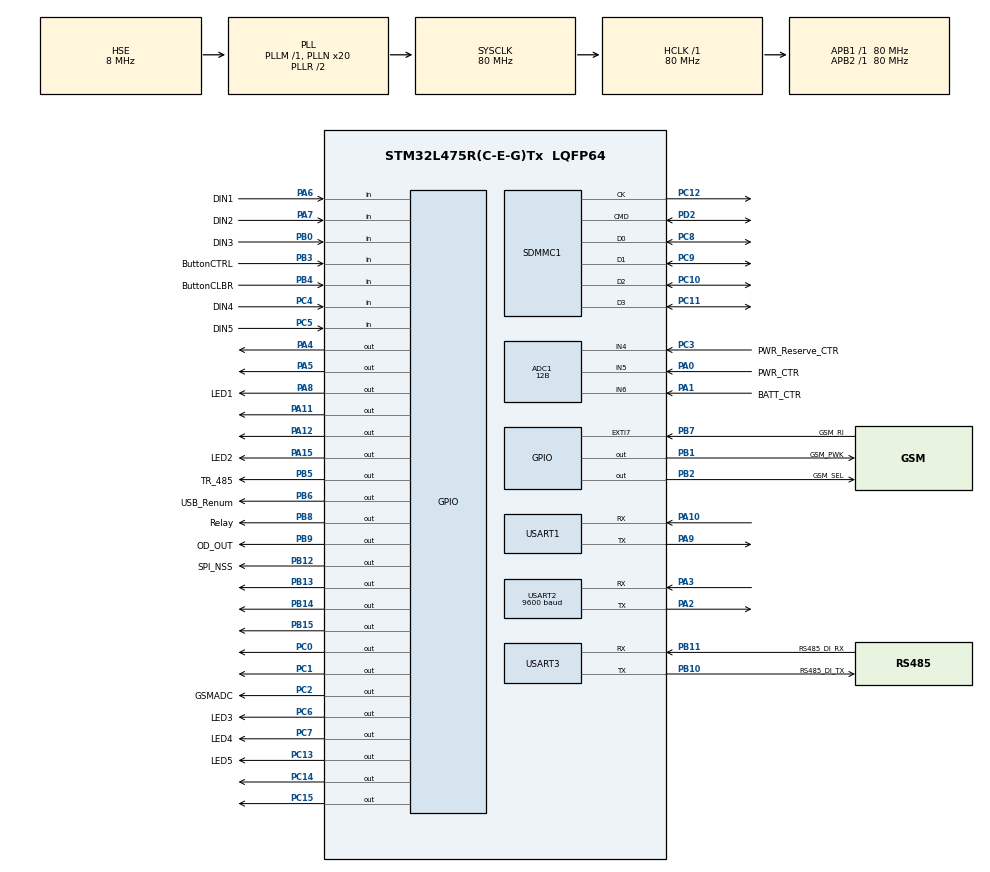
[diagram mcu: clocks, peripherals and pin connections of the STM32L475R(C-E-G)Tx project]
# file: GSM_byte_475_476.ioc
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ADC1.ClockPrescaler=ADC_CLOCK_ASYNC_DIV32
ADC1.ContinuousConvMode=DISABLE
ADC1.DMAContinuousRequests=DISABLE
ADC1.DataAlign=ADC_DATAALIGN_RIGHT
ADC1.DiscontinuousConvMode=DISABLE
ADC1.EOCSelection=ADC_EOC_SEQ_CONV
ADC1.EnableInjectedConversion=ENABLE
ADC1.EnableRegularConversion=DISABLE
ADC1.InjNumberOfConversion=3
ADC1.InjectedChannel-32\#ChannelInjectedConversion=ADC_CHANNEL_4
ADC1.InjectedChannel-33\#ChannelInjectedConversion=ADC_CHANNEL_5
ADC1.InjectedChannel-34\#ChannelInjectedConversion=ADC_CHANNEL_6
ADC1.InjectedOffsetNumber-32\#ChannelInjectedConversion=ADC_OFFSET_NONE
ADC1.InjectedOffsetNumber-33\#ChannelInjectedConversion=ADC_OFFSET_NONE
ADC1.InjectedOffsetNumber-34\#ChannelInjectedConversion=ADC_OFFSET_NONE
ADC1.InjectedRank-32\#ChannelInjectedConversion=1
ADC1.InjectedRank-33\#ChannelInjectedConversion=2
ADC1.InjectedRank-34\#ChannelInjectedConversion=3
ADC1.InjectedSamplingTime-32\#ChannelInjectedConversion=ADC_SAMPLETIME_2CYCLES_5
ADC1.InjectedSamplingTime-33\#ChannelInjectedConversion=ADC_SAMPLETIME_2CYCLES_5
ADC1.InjectedSamplingTime-34\#ChannelInjectedConversion=ADC_SAMPLETIME_2CYCLES_5
ADC1.LowPowerAutoWait=DISABLE
ADC1.Overrun=ADC_OVR_DATA_PRESERVED
ADC1.OversamplingMode=DISABLE
ADC1.Resolution=ADC_RESOLUTION_12B
ADC1.ScanConvMode=ADC_SCAN_ENABLE
ADC1.master=1
FATFS._MAX_SS=4096
Mcu.Family=STM32L4
Mcu.Name=STM32L475R(C-E-G)Tx
Mcu.Package=LQFP64
NVIC.ADC1_2_IRQn=true\:0\:0\:false\:true\:true\:1\:true\:true
NVIC.PriorityGroup=NVIC_PRIORITYGROUP_4
NVIC.SDMMC1_IRQn=true\:0\:0\:false\:false\:true\:true\:true
NVIC.TIM1_UP_TIM16_IRQn=true\:0\:0\:false\:true\:true\:5\:true\:true
NVIC.TIM6_DAC_IRQn=true\:0\:0\:false\:true\:true\:4\:true\:true
NVIC.USART2_IRQn=true\:0\:0\:false\:true\:true\:2\:true\:true
NVIC.USART3_IRQn=true\:0\:0\:false\:true\:true\:3\:true\:true
PA0.GPIO_Label=PWR_CTR
PA0.Signal=ADCx_IN5
PA1.GPIO_Label=BATT_CTR
PA1.Signal=ADCx_IN6
PA10.Mode=Asynchronous
PA10.Signal=USART1_RX
PA11.Signal=GPIO_Output
PA12.Signal=GPIO_Output
PA13\ (JTMS-SWDIO).Mode=Serial_Wire
PA13\ (JTMS-SWDIO).Signal=SYS_JTMS-SWDIO
PA14\ (JTCK-SWCLK).Mode=Serial_Wire
PA14\ (JTCK-SWCLK).Signal=SYS_JTCK-SWCLK
PA15\ (JTDI).GPIO_Label=LED2
PA15\ (JTDI).Signal=GPIO_Output
PA2.Mode=Asynchronous
PA2.Signal=USART2_TX
PA3.Mode=Asynchronous
PA3.Signal=USART2_RX
PA4.Signal=GPIO_Output
PA5.Signal=GPIO_Output
PA6.GPIO_Label=DIN1
PA6.Signal=GPIO_Input
PA7.GPIO_Label=DIN2
PA7.Signal=GPIO_Input
PA8.GPIO_Label=LED1
PA8.Signal=GPIO_Output
PA9.Mode=Asynchronous
PA9.Signal=USART1_TX
PB0.GPIO_Label=DIN3
PB0.Signal=GPIO_Input
PB1.GPIO_Label=GSM_PWK
PB1.Signal=GPIO_Output
PB10.GPIO_Label=RS485_DI_TX
PB10.Mode=Asynchronous
PB10.Signal=USART3_TX
PB11.GPIO_Label=RS485_DI_RX
PB11.Mode=Asynchronous
PB11.Signal=USART3_RX
PB12.GPIO_Label=SPI_NSS
PB12.PinState=GPIO_PIN_SET
PB12.Signal=GPIO_Output
PB13.Signal=GPIO_Output
PB14.Signal=GPIO_Output
PB15.Signal=GPIO_Output
PB2.GPIO_Label=GSM_SEL
PB2.Signal=GPIO_Output
PB3\ (JTDO-TRACESWO).GPIO_Label=ButtonCTRL
PB3\ (JTDO-TRACESWO).Signal=GPIO_Input
PB4\ (NJTRST).GPIO_Label=ButtonCLBR
PB4\ (NJTRST).Signal=GPIO_Input
PB5.GPIO_Label=TR_485
PB5.Signal=GPIO_Output
PB6.GPIO_FM6=__NULL
PB6.GPIO_Label=USB_Renum
PB6.Signal=GPIO_Output
PB7.GPIO_Label=GSM_RI
PB7.Signal=GPXTI7
PB8.GPIO_Label=Relay
PB8.Signal=GPIO_Output
PB9.GPIO_Label=OD_OUT
PB9.Signal=GPIO_Output
PC0.Signal=GPIO_Output
PC1.Signal=GPIO_Output
PC10.GPIO_PuPd=GPIO_PULLUP
PC10.Mode=SD_4_bits_Wide_bus
PC10.Signal=SDMMC1_D2
PC11.GPIO_PuPd=GPIO_PULLUP
PC11.Mode=SD_4_bits_Wide_bus
PC11.Signal=SDMMC1_D3
PC12.Mode=SD_4_bits_Wide_bus
PC12.Signal=SDMMC1_CK
PC13.GPIO_Label=LED5
PC13.Signal=GPIO_Output
PC14-OSC32_IN\ (PC14).Signal=GPIO_Output
PC15-OSC32_OUT\ (PC15).Signal=GPIO_Output
PC2.GPIO_Label=GSMADC
PC2.GPIO_ModeDefaultOutputPP=GPIO_MODE_OUTPUT_OD
PC2.Signal=GPIO_Output
PC3.GPIO_Label=PWR_Reserve_CTR
PC3.Signal=ADCx_IN4
PC4.GPIO_Label=DIN4
PC4.Signal=GPIO_Input
PC5.GPIO_Label=DIN5
PC5.GPIO_PuPd=GPIO_PULLUP
PC5.Signal=GPIO_Input
PC6.GPIO_Label=LED3
PC6.Signal=GPIO_Output
PC7.GPIO_Label=LED4
PC7.Signal=GPIO_Output
PC8.GPIO_PuPd=GPIO_PULLUP
PC8.Mode=SD_4_bits_Wide_bus
PC8.Signal=SDMMC1_D0
PC9.GPIO_PuPd=GPIO_PULLUP
PC9.Mode=SD_4_bits_Wide_bus
PC9.Signal=SDMMC1_D1
PD2.GPIO_PuPd=GPIO_PULLUP
PD2.Mode=SD_4_bits_Wide_bus
PD2.Signal=SDMMC1_CMD
PH0-OSC_IN\ (PH0).Mode=HSE-External-Oscillator
PH0-OSC_IN\ (PH0).Signal=RCC_OSC_IN
PH1-OSC_OUT\ (PH1).Mode=HSE-External-Oscillator
PH1-OSC_OUT\ (PH1).Signal=RCC_OSC_OUT
ProjectManager.HeapSize=0x200
ProjectManager.StackSize=0x400
ProjectManager.TargetToolchain=TrueSTUDIO
RCC.ADCCLockSelection=RCC_ADCCLKSOURCE_SYSCLK
RCC.ADCFreq_Value=80000000
RCC.AHBFreq_Value=80000000
RCC.APB1Freq_Value=80000000
RCC.APB1TimFreq_Value=80000000
RCC.APB2Freq_Value=80000000
RCC.APB2TimFreq_Value=80000000
RCC.CortexFreq_Value=10000000
RCC.Cortex_Div=SYSTICK_CLKSOURCE_HCLK_DIV8
RCC.FLatency=FLASH_LATENCY_2
RCC.HCLKFreq_Value=80000000
RCC.HSE_VALUE=8000000
RCC.HSI_VALUE=16000000
RCC.LSE_VALUE=32768
RCC.MSIClockRange=RCC_MSIRANGE_11
RCC.MSI_VALUE=48000000
RCC.PLLN=20
RCC.PLLSourceVirtual=RCC_PLLSOURCE_HSE
RCC.SYSCLKFreq_VALUE=80000000
RCC.SYSCLKSource=RCC_SYSCLKSOURCE_PLLCLK
RCC.USBFreq_Value=32000000
RCC.VCOOutputFreq_Value=160000000
SH.ADCx_IN4.0=ADC1_IN4,IN4-Single-Ended
SH.ADCx_IN5.0=ADC1_IN5,IN5-Single-Ended
SH.ADCx_IN6.0=ADC1_IN6,IN6-Single-Ended
TIM16.Period=18000
TIM16.Prescaler=1
TIM6.Period=42000
TIM6.Prescaler=1
USART1.DMADisableonRxErrorParam=ADVFEATURE_DMA_DISABLEONRXERROR
USART1.OverrunDisableParam=ADVFEATURE_OVERRUN_DISABLE
USART1.VirtualMode-Asynchronous=VM_ASYNC
USART1.WordLength=WORDLENGTH_8B
USART2.BaudRate=9600
USART2.DMADisableonRxErrorParam=ADVFEATURE_DMA_DISABLEONRXERROR
USART2.OverSampling=UART_OVERSAMPLING_8
USART2.OverrunDisableParam=ADVFEATURE_OVERRUN_DISABLE
USART2.VirtualMode-Asynchronous=VM_ASYNC
USART2.WordLength=WORDLENGTH_8B
USART3.DMADisableonRxErrorParam=ADVFEATURE_DMA_DISABLEONRXERROR
USART3.OverrunDisableParam=ADVFEATURE_OVERRUN_DISABLE
USART3.Parity=PARITY_EVEN
USART3.VirtualMode-Asynchronous=VM_ASYNC
USART3.WordLength=WORDLENGTH_9B
VP_CRC_VS_CRC.Mode=CRC_Activate
VP_FATFS_VS_SDIO.Mode=SDIO
VP_LPTIM1_VS_LPTIM_counterModeInternalClock.Mode=Counts__internal_clock_event_00
VP_LPTIM2_VS_LPTIM_counterModeInternalClock.Mode=Counts__internal_clock_event_00
VP_TIM15_VS_ClockSourceINT.Mode=Internal
VP_TIM16_VS_ClockSourceINT.Mode=Enable_Timer
VP_TIM16_VS_OPM.Mode=OPM_bit
VP_TIM17_VS_ClockSourceINT.Mode=Enable_Timer
VP_TIM1_VS_ClockSourceINT.Mode=Internal
VP_TIM2_VS_ClockSourceINT.Mode=Internal
VP_TIM3_VS_ClockSourceINT.Mode=Internal
VP_TIM4_VS_ClockSourceINT.Mode=Internal
VP_TIM5_VS_ClockSourceINT.Mode=Internal
VP_TIM6_VS_ClockSourceINT.Mode=Enable_Timer
VP_TIM6_VS_OPM.Mode=OPM_bit
VP_TIM7_VS_ClockSourceINT.Mode=Enable_Timer
VP_TIM8_VS_ClockSourceINT.Mode=Internal
VP_WWDG_VS_WWDG.Mode=WWDG_Activate
WWDG.Prescaler=WWDG_PRESCALER_8
board=GSM_byte_475_476

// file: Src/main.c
/* USER CODE BEGIN Header */
/**
  ******************************************************************************
  * @file           : main.c
  * @brief          : Main program body
  ******************************************************************************
  * @attention
  *
  * <h2><center>&copy; Copyright (c) 2019 STMicroelectronics.
  * All rights reserved.</center></h2>
  *
  * This software component is licensed by ST under BSD 3-Clause license,
  * the "License"; You may not use this file except in compliance with the
  * License. You may obtain a copy of the License at:
  *                        opensource.org/licenses/BSD-3-Clause
  *
  ******************************************************************************
  */
/* USER CODE END Header */

#include "main.h"
#include "fatfs.h"

/* USER CODE BEGIN PTD */
FATFS SDFatFs;  /* File system object for SD card logical drive */

FIL MyFile;     /* File object */

char SD_Path[4];  /* SD logical drive path */

/* USER CODE END PTD */

ADC_HandleTypeDef hadc1;

CRC_HandleTypeDef hcrc;

LPTIM_HandleTypeDef hlptim1;
LPTIM_HandleTypeDef hlptim2;

SD_HandleTypeDef hsd1;

TIM_HandleTypeDef htim1;
TIM_HandleTypeDef htim2;
TIM_HandleTypeDef htim3;
TIM_HandleTypeDef htim4;
TIM_HandleTypeDef htim5;
TIM_HandleTypeDef htim6;
TIM_HandleTypeDef htim7;
TIM_HandleTypeDef htim8;
TIM_HandleTypeDef htim15;
TIM_HandleTypeDef htim16;
TIM_HandleTypeDef htim17;

UART_HandleTypeDef huart1;
UART_HandleTypeDef huart2;
UART_HandleTypeDef huart3;

WWDG_HandleTypeDef hwwdg;

void SystemClock_Config(void);
static void MX_GPIO_Init(void);
static void MX_ADC1_Init(void);
static void MX_USART1_UART_Init(void);
static void MX_USART2_UART_Init(void);
static void MX_TIM6_Init(void);
static void MX_TIM7_Init(void);
static void MX_TIM3_Init(void);
static void MX_TIM2_Init(void);
static void MX_TIM1_Init(void);
static void MX_TIM4_Init(void);
static void MX_TIM5_Init(void);
static void MX_TIM8_Init(void);
static void MX_TIM15_Init(void);
static void MX_TIM16_Init(void);
static void MX_TIM17_Init(void);
static void MX_LPTIM1_Init(void);
static void MX_LPTIM2_Init(void);
static void MX_CRC_Init(void);
static void MX_WWDG_Init(void);
static void MX_USART3_UART_Init(void);
static void MX_SDMMC1_SD_Init(void);
static void MX_NVIC_Init(void);

/* USER CODE BEGIN 0 */
//память
//#define MAIN_PROGRAM_START_ADDRESS 0x08010000
#define MAIN_PROGRAM_START_ADDRESS 0x08019000
#define MAIN_PROGRAM_END_ADDRESS 0x08080000
//ключи
static const uint8_t AES_FW_KEY[] = {0xAF, 0xAF, 0xAF, 0xAF, 0xAF, 0xAF, 0xAF, 0xAF, 0xAF, 0xAF, 0xAF, 0xAF, 0xAF, 0xAF, 0xAF, 0xAF};
static const uint8_t AES_IV[] = {0xFA, 0xFA, 0xFA, 0xFA, 0xFA, 0xFA, 0xFA, 0xFA, 0xFA, 0xFA, 0xFA, 0xFA, 0xFA, 0xFA, 0xFA, 0xFA};
//состояния конечного автомата
#define FW_START 5
#define FW_READ 1000//3E8, +20=3FC
#define FW_WRITE 2000
#define FW_FINISH 10000//0x2710
#define FW_ERROR 100000

//остальное
uint32_t t; /* Временная переменная */
uint32_t fw_step = FW_READ; /* Индекс состояния конечного автомата */

uint32_t fwBuf[512]; /* Буфер для считанного блока прошивки */
uint32_t aes_buf[512]; /* Буфер для расшифрованного блока прошивки равен */
/* Буферы равны размеру страницы Flash-памяти*/

uint32_t ard4WRProgMem; /* Текущий адрес в памяти */

char tbuf[64]; /* Временный буфер для sprintf */

FATFS FS; /* Структура библиотеки fatFS - файловая система */
FIL F; /* Структура библиотеки fatFS - файл */
/* USER CODE END 0 */

int main(void)
{

  /* MCU Configuration--------------------------------------------------------*/

  /* Reset of all peripherals, Initializes the Flash interface and the Systick. */
  HAL_Init();

  /* Configure the system clock */
  SystemClock_Config();

  /* Initialize all configured peripherals */
  MX_GPIO_Init();
  MX_ADC1_Init();
  MX_USART1_UART_Init();
  MX_USART2_UART_Init();
  MX_TIM6_Init();
  MX_TIM7_Init();
  MX_TIM3_Init();
  MX_TIM2_Init();
  MX_TIM1_Init();
  MX_TIM4_Init();
  MX_TIM5_Init();
  MX_TIM8_Init();
  MX_TIM15_Init();
  MX_TIM16_Init();
  MX_TIM17_Init();
  MX_LPTIM1_Init();
  MX_LPTIM2_Init();
  MX_CRC_Init();
//  MX_WWDG_Init();
  MX_USART3_UART_Init();
  MX_SDMMC1_SD_Init();
  MX_FATFS_Init();

  /* Initialize interrupts */
//  MX_NVIC_Init();

  /* Infinite loop */
  /* USER CODE BEGIN WHILE */

//  TestRead1();

while (HAL_FLASH_Lock() != HAL_OK);

  while (1)
  {
	  asm("nop");

	  Work();
    /* USER CODE END WHILE */

  }
}

const char nameFile[] = "FQ.BIN";
//const char nameFile[] = "FIRMWARE.BIN";
void Work()
{
	//HABR

	//  После инициализации периферии нужно проверить необходимость обновления прошивки.
	//  В первом состоянии производится попытка чтения SD-карты и проверка наличия файла на ней.

		switch (fw_step)
		{
		case FW_READ:
			/* Чтение прошивки */
		{
			if (f_mount(&FS, "", 0) == FR_OK) /* Пробуем смонтировать SD-карту*/
			{ /* Проверяем, есть ли файл с прошивкой. */
				if (f_open(&F, nameFile, FA_READ | FA_OPEN_EXISTING) == FR_OK)
				{
					f_lseek(&F, 0); /* Переходим в начало файла */
	//				CRC_ResetDR(); /* Сбрасываем аппаратный счетчик CRC */
	//				//lcd_putstr("Обновление прошивки", 1, 0); /* Выводим сообщение на экран */
					/* Устанавливаем адрес чтения на начало основной программы */
					ard4WRProgMem = MAIN_PROGRAM_START_ADDRESS;
//					fw_step = FW_READ + 10; /* Переходим к следующему состоянию */
					fw_step = FW_READ + 20; /* Переходим к следующему состоянию */
				}
				else
				{
					fw_step = FW_FINISH;
				} /* Если файла нет - завершаем загрузчик */

			}
			else
			{
				fw_step = FW_FINISH;
			} /* Если нет SD-карты - завершаем загрузчик */

			break;
		}

	//	Теперь нам нужно провести проверку прошивки на корректность.
	//	Здесь сначала идет код проверки контрольной суммы, выполняющийся при окончании чтения файла, а потом само чтение.
	//	Возможно, так писать не следует, напишите в комментариях что вы об этом думаете.
	//	Чтение производится по 2 Кб для удобства работы с Flash-памятью, т.к. у STM32F103VET6 размер страницы памяти 2 Кб.
//
//		case FW_READ + 10:
//			/* Проверка корректности файла с прошивкой */
//		{
//			/* В процессе показываем на экране, сколько байт считано */
//			sprintf(tbuf, "Проверка: %d", ard4WRProgMem - MAIN_PROGRAM_START_ADDRESS);
//			//lcd_putstr(tbuf, 2, 1);
//
//			if (ard4WRProgMem > MAIN_PROGRAM_END_ADDRESS) /* Если прочитаи весь файл прошивки */
//			{
//				f_read(&F, &t, sizeof(t), &ard4WRProgMem); /* Считываем 4 байта контрольной суммы */
//
//				/* Записываем считанные 4 байта в регистр данных периферийного блока CRC */
////				CRC_CalcCRC(t);
//
////				if (CRC_GetCRC() == 0) /* Если результат 0, то файл не поврежден */
////				{
//					/* Устанавливаем адрес записи на адрес начала основной программы */
//					ard4WRProgMem = MAIN_PROGRAM_START_ADDRESS;
//					f_lseek(&F, 0); /* Переходим в начало файла */
//					fw_step = FW_READ + 20; /* Переходим к следующему состоянию */
//					break;
////				}
////				else
////				{
////					//lcd_putstr("Файл поврежден", 3, 2); /* Выводим сообщение на экран */
////					fw_step = FW_ERROR; /* Переходим к шагу обработки ошибки обновления */
////					break;
////				}
//			}
//
//			f_read(&F, &fw_buf, sizeof(fw_buf), &t); /* Считываем 2 Кб из файла в буфер */
//			if (t != sizeof(fw_buf)) /* Если не получилось считать */
//			{
//				//lcd_putstr("Ошибка чтения", 3, 2);
//				fw_step = FW_ERROR; /* Переходим к шагу обработки ошибки обновления */
//				break;
//			}
//
//			/* Расшифровываем считанный блок прошивки */
//			AES_CBC_decrypt_buffer((uint8_t*) &aes_buf, (uint8_t *) &fw_buf,
//					sizeof(fw_buf), AES_FW_KEY, AES_IV);
//
//			for (t = 0; t < NELEMS(aes_buf); t++) /* Записываем блок в регистр CRC */
//			{
//				CRC_CalcCRC(aes_buf[t]); /* Запись ведем по 4 байта */
//			}
//
//			ard4WRProgMem += sizeof(fw_buf); /* Сдвигаем адрес на следующие 2 Кб */
//
//			break;
//		}

	//	Теперь, если прошивка не повреждена, то нужно её снова прочитать, но на этот раз уже записать во Flash — память.

		case FW_READ + 20:
			// Flash Firmware
		{
			/* В процессе показываем на экране, сколько байт записано */
			sprintf(tbuf, "Запись: %d", ard4WRProgMem - MAIN_PROGRAM_START_ADDRESS);
			//lcd_putstr(tbuf, 4, 2);

			if (ard4WRProgMem > MAIN_PROGRAM_END_ADDRESS) /* Когда записали всю прошивку */
			{
				//lcd_putstr("Готово", 7, 3); /* Выводим сообщение на экран */
				f_unlink(nameFile); /* Удаляем файл прошивки с SD-карты */
				fw_step = FW_FINISH; /* Завершаем загрузчик */
				break;
			}

			f_read(&F, &fwBuf, sizeof(fwBuf), &t); /* Считываем блок 2 Кб (512 * 4) страница */

			if (t != sizeof(fwBuf)) /* Если не получилось считать */
			{
				//lcd_putstr("Ошибка чтения", 3, 3); /* Выводим сообщение на экран */
				fw_step = FW_ERROR; /* Переходим к шагу обработки ошибки обновления */
				break;
			}

	//		/* Расшифровываем считанный блок прошивки */
	//		AES_CBC_decrypt_buffer((uint8_t*) &aes_buf, (uint8_t *) &fw_buf,
	//				sizeof(fw_buf), AES_FW_KEY, AES_IV);

//			FLASH_Unlock(); /* Разблокируем FLash-память на запись */
//			FLASH_ErasePage(ard4WRProgMem); /* Стираем страницу памяти */
//			for (t = 0; t < sizeof(aes_buf); t += 4) /* Записываем прошивку по 4 байта */
//			{
//				FLASH_ProgramWord(ard4WRProgMem + t, aes_buf[t / 4]);
//			}
//			FLASH_Lock(); /* Блокируем прошивку на запись */

			//запись двойного слова 64-бит == 8байт
			uint64_t var4WRFlesh;
			HAL_StatusTypeDef resWR2Flesh;
			while (HAL_FLASH_Unlock() != HAL_OK);
			for (uint16_t iFwBuf = 0; iFwBuf < (sizeof(fwBuf)/ 8); iFwBuf = iFwBuf + 2) /* Записываем прошивку по 8 байт */
			{
				var4WRFlesh = 0;
				var4WRFlesh = (((uint64_t)fwBuf[iFwBuf + 1]) << 32) + fwBuf[iFwBuf];
				while(1)
				{
					resWR2Flesh = HAL_FLASH_Program(FLASH_TYPEPROGRAM_DOUBLEWORD, ard4WRProgMem + (iFwBuf * 4), var4WRFlesh);
					if(resWR2Flesh == HAL_ERROR)
					{
						fw_step = FW_ERROR;//что то пошло не так
						return;
					}
					if(resWR2Flesh == HAL_OK)
						break;
				}
			}
			while (HAL_FLASH_Lock() != HAL_OK);
			asm("nop");
			ard4WRProgMem += sizeof(fwBuf); /* Переходим к следующей странице */

			break;
		}

		//	Теперь для красоты создадим состояния для обработки ошибки и успешного обновления:
		case FW_ERROR:
		{
			/* Можно что-то сделать при ошибке обновления */
			break;
		}

		case FW_FINISH:
		{
//			ExecMainFW(); /* Запускаем основную программу */
			Go_To_User_App();
			/* Дальнейший код выполнен не будет */
			break;
		}

		}

		return;
}

////#define APPLICATION_ADDRESS    0x08008400//адрес начала программы
//#define APPLICATION_ADDRESS    0x08008400//адрес начала программы
void Go_To_User_App(void)
{
    uint32_t app_jump_address;

    typedef void(*pFunction)(void);//объявляем пользовательский тип
    pFunction Jump_To_Application;//и создаём переменную этого типа

     __disable_irq();//запрещаем прерывания

    app_jump_address = *( uint32_t*) (MAIN_PROGRAM_START_ADDRESS + 4);    //извлекаем адрес перехода из вектора Reset
    Jump_To_Application = (pFunction)app_jump_address;            //приводим его к пользовательскому типу
      __set_MSP(*(__IO uint32_t*) MAIN_PROGRAM_START_ADDRESS);          //устанавливаем SP приложения
    Jump_To_Application();		                        //запускаем приложение
}

void ExecMainFW()
{

//	//https://community.st.com/s/question/0D50X00009yEN7WSAW/stm32h7-jump-to-application-from-custom-bootloader-fails-when-compiling-in-release-mode
//#define USBD_DFU_APP_DEFAULT_ADD 0x1FFF0000
//	pFunction JumpToApplication;
//	uint32_t JumpAddress;
//	/***
//	 **** some code HERE
//	***/
//	HAL_RCC_DeInit();
//	HAL_DeInit();
//	SysTick->CTRL = 0;
//	SysTick->LOAD = 0;
//	SysTick->VAL = 0;
//
//	//_HAL_REMAPMEMORY_SYSTEMFLASH();
//	/* Jump to user application */
//	JumpAddress = *(__IO uint32_t*) (USBD_DFU_APP_DEFAULT_ADD + 4);
//	JumpToApplication = (pFunction) JumpAddress;
//
//	/**
//	* Step: Disable all interrupts
//	*/
//	__disable_irq();
//	__HAL_SYSCFG_REMAPMEMORY_SYSTEMFLASH();
//
//	/* Initialize user application's Stack Pointer */
//	__set_MSP(*(__IO uint32_t*) USBD_DFU_APP_DEFAULT_ADD);
//	JumpToApplication();
}

//void ExecMainFW()
//{
//	/* Устанавливаем адрес перехода на основную программу */
//	/* Переход производится выполнением функции, адрес которой указывается вручную */
//	/* +4 байта потому, что в самом начале расположен указатель на вектор прерывания */
//	uint32_t jumpAddress = *(__IO uint32_t*) (MAIN_PROGRAM_START_ADDRESS + 4);
//	pFunction Jump_To_Application = (pFunction) jumpAddress;
//
//	/*Сбрасываем всю периферию на APB1 */
//	RCC->APB1RSTR = 0xFFFFFFFF;
//	RCC->APB1RSTR = 0x0;
//	/*Сбрасываем всю периферию на APB2 */
//	RCC->APB2RSTR = 0xFFFFFFFF;
//	RCC->APB2RSTR = 0x0;
//	RCC->APB1ENR = 0x0; /* Выключаем всю периферию на APB1 */
//	RCC->APB2ENR = 0x0; /* Выключаем всю периферию на APB2 */
//	RCC->AHBENR = 0x0; /* Выключаем всю периферию на AHB */
//	/* Сбрасываем все источники тактования по умолчанию, переходим на HSI*/
//	RCC_DeInit();
//
//	/* Выключаем прерывания */
//	__disable_irq();
//	/* Переносим адрес вектора прерываний */
//	NVIC_SetVectorTable(NVIC_VectTab_FLASH, MAIN_PROGRAM_START_ADDRESS);
//	/* Переносим адрес стэка */
//	__set_MSP(*(__IO uint32_t*) MAIN_PROGRAM_START_ADDRESS);
//	/* Переходим в основную программу */
//	Jump_To_Application();
//}

//Функция для аппаратного подсчёта CRC32
//Принимает на вход указатель на массив uint32_t чисел и размер этого массива
//Возвращает CRC32 для этого массива
uint32_t crc_calc(uint32_t * buffer[], uint32_t buff_len) {
  uint32_t i;
  CRC->CR |= CRC_CR_RESET; //Делаем сброс...
  for(i = 0; i < buff_len; i++) {
    CRC->DR = buffer[i]; //Загоняем данные из буфера в регистр данных
  }
  return (CRC->DR); //Читаем контрольную сумму и возвращаем её
}

void TestRW1()
{
	FRESULT res = f_mount(&SDFatFs, (TCHAR const*)SD_Path, 1);
	if(res != FR_OK)
		Error_Handler();
	else
	{
		uint8_t arr[] = {'z', 'm', 'n'};
		uint8_t arrrd[20];
		memset(arrrd, 0, 20);
		uint8_t* bw;
		res = f_open(&MyFile, "abc.txt", FA_READ|FA_WRITE);
		// res = f_read(&MyFile, arrrd, 10, bw);
		res = f_write(&MyFile, arr, 3, bw);
		res = f_close(&MyFile);
		res = f_open(&MyFile, "abc.txt", FA_READ|FA_WRITE);
		res = f_read(&MyFile, arrrd, 10, bw);
		res = f_close(&MyFile);
		asm("nop");
	}
}

#define LEN_STRING 20
char adrHm[256];
void TestRead1()
{
	FRESULT res = f_mount(&SDFatFs, (TCHAR const*)SD_Path, 1);
	if(res != FR_OK)
		Error_Handler();
	else
	{
		char rawData[100];
		char lineFromFile[10][LEN_STRING];
		memset(rawData, 0, sizeof(rawData));
		res = f_open(&MyFile, "adr.txt", FA_READ|FA_WRITE);
		int iString = 0;
	    while (f_gets(rawData, sizeof(rawData), &MyFile))
	    {
			for(int i = 0; i < LEN_STRING; i++)
			{
				if(rawData[i] == '/0')
					break;
				lineFromFile[iString][LEN_STRING];
			}
	    	iString++;
	    }
//	    int iString = 0;
//	    for(int i = 0; i < sizeof(rawData); i++)
//	    {
//	    	if(rawData[i] == )
//
//	    }
		asm("nop");
		res = f_close(&MyFile);
	}
}

void SystemClock_Config(void)
{
  RCC_OscInitTypeDef RCC_OscInitStruct = {0};
  RCC_ClkInitTypeDef RCC_ClkInitStruct = {0};
  RCC_PeriphCLKInitTypeDef PeriphClkInit = {0};

  /** Initializes the CPU, AHB and APB busses clocks
  */
  RCC_OscInitStruct.OscillatorType = RCC_OSCILLATORTYPE_HSE;
  RCC_OscInitStruct.HSEState = RCC_HSE_ON;
  RCC_OscInitStruct.PLL.PLLState = RCC_PLL_ON;
  RCC_OscInitStruct.PLL.PLLSource = RCC_PLLSOURCE_HSE;
  RCC_OscInitStruct.PLL.PLLM = 1;
  RCC_OscInitStruct.PLL.PLLN = 20;
  RCC_OscInitStruct.PLL.PLLP = RCC_PLLP_DIV7;
  RCC_OscInitStruct.PLL.PLLQ = RCC_PLLQ_DIV2;
  RCC_OscInitStruct.PLL.PLLR = RCC_PLLR_DIV2;
  if (HAL_RCC_OscConfig(&RCC_OscInitStruct) != HAL_OK)
  {
    Error_Handler();
  }
  /** Initializes the CPU, AHB and APB busses clocks
  */
  RCC_ClkInitStruct.ClockType = RCC_CLOCKTYPE_HCLK|RCC_CLOCKTYPE_SYSCLK
                              |RCC_CLOCKTYPE_PCLK1|RCC_CLOCKTYPE_PCLK2;
  RCC_ClkInitStruct.SYSCLKSource = RCC_SYSCLKSOURCE_PLLCLK;
  RCC_ClkInitStruct.AHBCLKDivider = RCC_SYSCLK_DIV1;
  RCC_ClkInitStruct.APB1CLKDivider = RCC_HCLK_DIV1;
  RCC_ClkInitStruct.APB2CLKDivider = RCC_HCLK_DIV1;

  if (HAL_RCC_ClockConfig(&RCC_ClkInitStruct, FLASH_LATENCY_2) != HAL_OK)
  {
    Error_Handler();
  }
  PeriphClkInit.PeriphClockSelection = RCC_PERIPHCLK_USART1|RCC_PERIPHCLK_USART2
                              |RCC_PERIPHCLK_USART3|RCC_PERIPHCLK_LPTIM1
                              |RCC_PERIPHCLK_LPTIM2|RCC_PERIPHCLK_SDMMC1
                              |RCC_PERIPHCLK_ADC;
  PeriphClkInit.Usart1ClockSelection = RCC_USART1CLKSOURCE_PCLK2;
  PeriphClkInit.Usart2ClockSelection = RCC_USART2CLKSOURCE_PCLK1;
  PeriphClkInit.Usart3ClockSelection = RCC_USART3CLKSOURCE_PCLK1;
  PeriphClkInit.Lptim1ClockSelection = RCC_LPTIM1CLKSOURCE_PCLK;
  PeriphClkInit.Lptim2ClockSelection = RCC_LPTIM2CLKSOURCE_PCLK;
  PeriphClkInit.AdcClockSelection = RCC_ADCCLKSOURCE_SYSCLK;
  PeriphClkInit.Sdmmc1ClockSelection = RCC_SDMMC1CLKSOURCE_PLLSAI1;
  PeriphClkInit.PLLSAI1.PLLSAI1Source = RCC_PLLSOURCE_HSE;
  PeriphClkInit.PLLSAI1.PLLSAI1M = 1;
  PeriphClkInit.PLLSAI1.PLLSAI1N = 8;
  PeriphClkInit.PLLSAI1.PLLSAI1P = RCC_PLLP_DIV7;
  PeriphClkInit.PLLSAI1.PLLSAI1Q = RCC_PLLQ_DIV2;
  PeriphClkInit.PLLSAI1.PLLSAI1R = RCC_PLLR_DIV2;
  PeriphClkInit.PLLSAI1.PLLSAI1ClockOut = RCC_PLLSAI1_48M2CLK;
  if (HAL_RCCEx_PeriphCLKConfig(&PeriphClkInit) != HAL_OK)
  {
    Error_Handler();
  }
  /** Configure the main internal regulator output voltage
  */
  if (HAL_PWREx_ControlVoltageScaling(PWR_REGULATOR_VOLTAGE_SCALE1) != HAL_OK)
  {
    Error_Handler();
  }
}

/**
  * @brief NVIC Configuration.
  * @retval None
  */
static void MX_NVIC_Init(void)
{
  /* ADC1_2_IRQn interrupt configuration */
  HAL_NVIC_SetPriority(ADC1_2_IRQn, 0, 0);
  HAL_NVIC_EnableIRQ(ADC1_2_IRQn);
  /* USART2_IRQn interrupt configuration */
  HAL_NVIC_SetPriority(USART2_IRQn, 0, 0);
  HAL_NVIC_EnableIRQ(USART2_IRQn);
  /* USART3_IRQn interrupt configuration */
  HAL_NVIC_SetPriority(USART3_IRQn, 0, 0);
  HAL_NVIC_EnableIRQ(USART3_IRQn);
  /* TIM6_DAC_IRQn interrupt configuration */
  HAL_NVIC_SetPriority(TIM6_DAC_IRQn, 0, 0);
  HAL_NVIC_EnableIRQ(TIM6_DAC_IRQn);
  /* TIM1_UP_TIM16_IRQn interrupt configuration */
  HAL_NVIC_SetPriority(TIM1_UP_TIM16_IRQn, 0, 0);
  HAL_NVIC_EnableIRQ(TIM1_UP_TIM16_IRQn);
}

static void MX_ADC1_Init(void)
{

  ADC_MultiModeTypeDef multimode = {0};
  ADC_InjectionConfTypeDef sConfigInjected = {0};

  /** Common config
  */
  hadc1.Instance = ADC1;
  hadc1.Init.ClockPrescaler = ADC_CLOCK_ASYNC_DIV32;
  hadc1.Init.Resolution = ADC_RESOLUTION_12B;
  hadc1.Init.DataAlign = ADC_DATAALIGN_RIGHT;
  hadc1.Init.ScanConvMode = ADC_SCAN_ENABLE;
  hadc1.Init.EOCSelection = ADC_EOC_SEQ_CONV;
  hadc1.Init.LowPowerAutoWait = DISABLE;
  hadc1.Init.ContinuousConvMode = DISABLE;
  hadc1.Init.NbrOfConversion = 1;
  hadc1.Init.DiscontinuousConvMode = DISABLE;
  hadc1.Init.DMAContinuousRequests = DISABLE;
  hadc1.Init.Overrun = ADC_OVR_DATA_PRESERVED;
  hadc1.Init.OversamplingMode = DISABLE;
  if (HAL_ADC_Init(&hadc1) != HAL_OK)
  {
    Error_Handler();
  }
  /** Configure the ADC multi-mode
  */
  multimode.Mode = ADC_MODE_INDEPENDENT;
  if (HAL_ADCEx_MultiModeConfigChannel(&hadc1, &multimode) != HAL_OK)
  {
    Error_Handler();
  }
  /** Configure Injected Channel
  */
  sConfigInjected.InjectedChannel = ADC_CHANNEL_4;
  sConfigInjected.InjectedRank = ADC_INJECTED_RANK_1;
  sConfigInjected.InjectedSamplingTime = ADC_SAMPLETIME_2CYCLES_5;
  sConfigInjected.InjectedSingleDiff = ADC_SINGLE_ENDED;
  sConfigInjected.InjectedOffsetNumber = ADC_OFFSET_NONE;
  sConfigInjected.InjectedOffset = 0;
  sConfigInjected.InjectedNbrOfConversion = 3;
  sConfigInjected.InjectedDiscontinuousConvMode = DISABLE;
  sConfigInjected.AutoInjectedConv = DISABLE;
  sConfigInjected.QueueInjectedContext = DISABLE;
  sConfigInjected.ExternalTrigInjecConv = ADC_INJECTED_SOFTWARE_START;
  sConfigInjected.ExternalTrigInjecConvEdge = ADC_EXTERNALTRIGINJECCONV_EDGE_NONE;
  sConfigInjected.InjecOversamplingMode = DISABLE;
  if (HAL_ADCEx_InjectedConfigChannel(&hadc1, &sConfigInjected) != HAL_OK)
  {
    Error_Handler();
  }
  /** Configure Injected Channel
  */
  sConfigInjected.InjectedChannel = ADC_CHANNEL_5;
  sConfigInjected.InjectedRank = ADC_INJECTED_RANK_2;
  if (HAL_ADCEx_InjectedConfigChannel(&hadc1, &sConfigInjected) != HAL_OK)
  {
    Error_Handler();
  }
  /** Configure Injected Channel
  */
  sConfigInjected.InjectedChannel = ADC_CHANNEL_6;
  sConfigInjected.InjectedRank = ADC_INJECTED_RANK_3;
  if (HAL_ADCEx_InjectedConfigChannel(&hadc1, &sConfigInjected) != HAL_OK)
  {
    Error_Handler();
  }

}

static void MX_CRC_Init(void)
{

  hcrc.Instance = CRC;
  hcrc.Init.DefaultPolynomialUse = DEFAULT_POLYNOMIAL_ENABLE;
  hcrc.Init.DefaultInitValueUse = DEFAULT_INIT_VALUE_ENABLE;
  hcrc.Init.InputDataInversionMode = CRC_INPUTDATA_INVERSION_NONE;
  hcrc.Init.OutputDataInversionMode = CRC_OUTPUTDATA_INVERSION_DISABLE;
  hcrc.InputDataFormat = CRC_INPUTDATA_FORMAT_BYTES;
  if (HAL_CRC_Init(&hcrc) != HAL_OK)
  {
    Error_Handler();
  }

}

static void MX_LPTIM1_Init(void)
{

  hlptim1.Instance = LPTIM1;
  hlptim1.Init.Clock.Source = LPTIM_CLOCKSOURCE_APBCLOCK_LPOSC;
  hlptim1.Init.Clock.Prescaler = LPTIM_PRESCALER_DIV1;
  hlptim1.Init.Trigger.Source = LPTIM_TRIGSOURCE_SOFTWARE;
  hlptim1.Init.OutputPolarity = LPTIM_OUTPUTPOLARITY_HIGH;
  hlptim1.Init.UpdateMode = LPTIM_UPDATE_IMMEDIATE;
  hlptim1.Init.CounterSource = LPTIM_COUNTERSOURCE_INTERNAL;
  hlptim1.Init.Input1Source = LPTIM_INPUT1SOURCE_GPIO;
  hlptim1.Init.Input2Source = LPTIM_INPUT2SOURCE_GPIO;
  if (HAL_LPTIM_Init(&hlptim1) != HAL_OK)
  {
    Error_Handler();
  }

}

static void MX_LPTIM2_Init(void)
{

  hlptim2.Instance = LPTIM2;
  hlptim2.Init.Clock.Source = LPTIM_CLOCKSOURCE_APBCLOCK_LPOSC;
  hlptim2.Init.Clock.Prescaler = LPTIM_PRESCALER_DIV1;
  hlptim2.Init.Trigger.Source = LPTIM_TRIGSOURCE_SOFTWARE;
  hlptim2.Init.OutputPolarity = LPTIM_OUTPUTPOLARITY_HIGH;
  hlptim2.Init.UpdateMode = LPTIM_UPDATE_IMMEDIATE;
  hlptim2.Init.CounterSource = LPTIM_COUNTERSOURCE_INTERNAL;
  hlptim2.Init.Input1Source = LPTIM_INPUT1SOURCE_GPIO;
  hlptim2.Init.Input2Source = LPTIM_INPUT2SOURCE_GPIO;
  if (HAL_LPTIM_Init(&hlptim2) != HAL_OK)
  {
    Error_Handler();
  }

}

static void MX_SDMMC1_SD_Init(void)
{

  hsd1.Instance = SDMMC1;
  hsd1.Init.ClockEdge = SDMMC_CLOCK_EDGE_RISING;
  hsd1.Init.ClockBypass = SDMMC_CLOCK_BYPASS_DISABLE;
  hsd1.Init.ClockPowerSave = SDMMC_CLOCK_POWER_SAVE_DISABLE;
  hsd1.Init.BusWide = SDMMC_BUS_WIDE_1B;
  hsd1.Init.HardwareFlowControl = SDMMC_HARDWARE_FLOW_CONTROL_DISABLE;
  hsd1.Init.ClockDiv = 0;

}

static void MX_TIM1_Init(void)
{

  TIM_ClockConfigTypeDef sClockSourceConfig = {0};
  TIM_MasterConfigTypeDef sMasterConfig = {0};

  htim1.Instance = TIM1;
  htim1.Init.Prescaler = 0;
  htim1.Init.CounterMode = TIM_COUNTERMODE_UP;
  htim1.Init.Period = 0;
  htim1.Init.ClockDivision = TIM_CLOCKDIVISION_DIV1;
  htim1.Init.RepetitionCounter = 0;
  htim1.Init.AutoReloadPreload = TIM_AUTORELOAD_PRELOAD_DISABLE;
  if (HAL_TIM_Base_Init(&htim1) != HAL_OK)
  {
    Error_Handler();
  }
  sClockSourceConfig.ClockSource = TIM_CLOCKSOURCE_INTERNAL;
  if (HAL_TIM_ConfigClockSource(&htim1, &sClockSourceConfig) != HAL_OK)
  {
    Error_Handler();
  }
  sMasterConfig.MasterOutputTrigger = TIM_TRGO_RESET;
  sMasterConfig.MasterOutputTrigger2 = TIM_TRGO2_RESET;
  sMasterConfig.MasterSlaveMode = TIM_MASTERSLAVEMODE_DISABLE;
  if (HAL_TIMEx_MasterConfigSynchronization(&htim1, &sMasterConfig) != HAL_OK)
  {
    Error_Handler();
  }

}

static void MX_TIM2_Init(void)
{

  TIM_ClockConfigTypeDef sClockSourceConfig = {0};
  TIM_MasterConfigTypeDef sMasterConfig = {0};

  htim2.Instance = TIM2;
  htim2.Init.Prescaler = 0;
  htim2.Init.CounterMode = TIM_COUNTERMODE_UP;
  htim2.Init.Period = 0;
  htim2.Init.ClockDivision = TIM_CLOCKDIVISION_DIV1;
  htim2.Init.AutoReloadPreload = TIM_AUTORELOAD_PRELOAD_DISABLE;
  if (HAL_TIM_Base_Init(&htim2) != HAL_OK)
  {
    Error_Handler();
  }
  sClockSourceConfig.ClockSource = TIM_CLOCKSOURCE_INTERNAL;
  if (HAL_TIM_ConfigClockSource(&htim2, &sClockSourceConfig) != HAL_OK)
  {
    Error_Handler();
  }
  sMasterConfig.MasterOutputTrigger = TIM_TRGO_RESET;
  sMasterConfig.MasterSlaveMode = TIM_MASTERSLAVEMODE_DISABLE;
  if (HAL_TIMEx_MasterConfigSynchronization(&htim2, &sMasterConfig) != HAL_OK)
  {
    Error_Handler();
  }

}

static void MX_TIM3_Init(void)
{

  TIM_ClockConfigTypeDef sClockSourceConfig = {0};
  TIM_MasterConfigTypeDef sMasterConfig = {0};

  htim3.Instance = TIM3;
  htim3.Init.Prescaler = 0;
  htim3.Init.CounterMode = TIM_COUNTERMODE_UP;
  htim3.Init.Period = 0;
  htim3.Init.ClockDivision = TIM_CLOCKDIVISION_DIV1;
  htim3.Init.AutoReloadPreload = TIM_AUTORELOAD_PRELOAD_DISABLE;
  if (HAL_TIM_Base_Init(&htim3) != HAL_OK)
  {
    Error_Handler();
  }
  sClockSourceConfig.ClockSource = TIM_CLOCKSOURCE_INTERNAL;
  if (HAL_TIM_ConfigClockSource(&htim3, &sClockSourceConfig) != HAL_OK)
  {
    Error_Handler();
  }
  sMasterConfig.MasterOutputTrigger = TIM_TRGO_RESET;
  sMasterConfig.MasterSlaveMode = TIM_MASTERSLAVEMODE_DISABLE;
  if (HAL_TIMEx_MasterConfigSynchronization(&htim3, &sMasterConfig) != HAL_OK)
  {
    Error_Handler();
  }

}

static void MX_TIM4_Init(void)
{

  TIM_ClockConfigTypeDef sClockSourceConfig = {0};
  TIM_MasterConfigTypeDef sMasterConfig = {0};

  htim4.Instance = TIM4;
  htim4.Init.Prescaler = 0;
  htim4.Init.CounterMode = TIM_COUNTERMODE_UP;
  htim4.Init.Period = 0;
  htim4.Init.ClockDivision = TIM_CLOCKDIVISION_DIV1;
  htim4.Init.AutoReloadPreload = TIM_AUTORELOAD_PRELOAD_DISABLE;
  if (HAL_TIM_Base_Init(&htim4) != HAL_OK)
  {
    Error_Handler();
  }
  sClockSourceConfig.ClockSource = TIM_CLOCKSOURCE_INTERNAL;
  if (HAL_TIM_ConfigClockSource(&htim4, &sClockSourceConfig) != HAL_OK)
  {
    Error_Handler();
  }
  sMasterConfig.MasterOutputTrigger = TIM_TRGO_RESET;
  sMasterConfig.MasterSlaveMode = TIM_MASTERSLAVEMODE_DISABLE;
  if (HAL_TIMEx_MasterConfigSynchronization(&htim4, &sMasterConfig) != HAL_OK)
  {
    Error_Handler();
  }

}

static void MX_TIM5_Init(void)
{

  TIM_ClockConfigTypeDef sClockSourceConfig = {0};
  TIM_MasterConfigTypeDef sMasterConfig = {0};

  htim5.Instance = TIM5;
  htim5.Init.Prescaler = 0;
  htim5.Init.CounterMode = TIM_COUNTERMODE_UP;
  htim5.Init.Period = 0;
  htim5.Init.ClockDivision = TIM_CLOCKDIVISION_DIV1;
  htim5.Init.AutoReloadPreload = TIM_AUTORELOAD_PRELOAD_DISABLE;
  if (HAL_TIM_Base_Init(&htim5) != HAL_OK)
  {
    Error_Handler();
  }
  sClockSourceConfig.ClockSource = TIM_CLOCKSOURCE_INTERNAL;
  if (HAL_TIM_ConfigClockSource(&htim5, &sClockSourceConfig) != HAL_OK)
  {
    Error_Handler();
  }
  sMasterConfig.MasterOutputTrigger = TIM_TRGO_RESET;
  sMasterConfig.MasterSlaveMode = TIM_MASTERSLAVEMODE_DISABLE;
  if (HAL_TIMEx_MasterConfigSynchronization(&htim5, &sMasterConfig) != HAL_OK)
  {
    Error_Handler();
  }

}

static void MX_TIM6_Init(void)
{

  TIM_MasterConfigTypeDef sMasterConfig = {0};

  htim6.Instance = TIM6;
  htim6.Init.Prescaler = 1;
  htim6.Init.CounterMode = TIM_COUNTERMODE_UP;
  htim6.Init.Period = 42000;
  htim6.Init.AutoReloadPreload = TIM_AUTORELOAD_PRELOAD_DISABLE;
  if (HAL_TIM_Base_Init(&htim6) != HAL_OK)
  {
    Error_Handler();
  }
  if (HAL_TIM_OnePulse_Init(&htim6, TIM_OPMODE_SINGLE) != HAL_OK)
  {
    Error_Handler();
  }
  sMasterConfig.MasterOutputTrigger = TIM_TRGO_RESET;
  sMasterConfig.MasterSlaveMode = TIM_MASTERSLAVEMODE_DISABLE;
  if (HAL_TIMEx_MasterConfigSynchronization(&htim6, &sMasterConfig) != HAL_OK)
  {
    Error_Handler();
  }

}

static void MX_TIM7_Init(void)
{

  TIM_MasterConfigTypeDef sMasterConfig = {0};

  htim7.Instance = TIM7;
  htim7.Init.Prescaler = 0;
  htim7.Init.CounterMode = TIM_COUNTERMODE_UP;
  htim7.Init.Period = 0;
  htim7.Init.AutoReloadPreload = TIM_AUTORELOAD_PRELOAD_DISABLE;
  if (HAL_TIM_Base_Init(&htim7) != HAL_OK)
  {
    Error_Handler();
  }
  sMasterConfig.MasterOutputTrigger = TIM_TRGO_RESET;
  sMasterConfig.MasterSlaveMode = TIM_MASTERSLAVEMODE_DISABLE;
  if (HAL_TIMEx_MasterConfigSynchronization(&htim7, &sMasterConfig) != HAL_OK)
  {
    Error_Handler();
  }

}

static void MX_TIM8_Init(void)
{

  TIM_ClockConfigTypeDef sClockSourceConfig = {0};
  TIM_MasterConfigTypeDef sMasterConfig = {0};

  htim8.Instance = TIM8;
  htim8.Init.Prescaler = 0;
  htim8.Init.CounterMode = TIM_COUNTERMODE_UP;
  htim8.Init.Period = 0;
  htim8.Init.ClockDivision = TIM_CLOCKDIVISION_DIV1;
  htim8.Init.RepetitionCounter = 0;
  htim8.Init.AutoReloadPreload = TIM_AUTORELOAD_PRELOAD_DISABLE;
  if (HAL_TIM_Base_Init(&htim8) != HAL_OK)
  {
    Error_Handler();
  }
  sClockSourceConfig.ClockSource = TIM_CLOCKSOURCE_INTERNAL;
  if (HAL_TIM_ConfigClockSource(&htim8, &sClockSourceConfig) != HAL_OK)
  {
    Error_Handler();
  }
  sMasterConfig.MasterOutputTrigger = TIM_TRGO_RESET;
  sMasterConfig.MasterOutputTrigger2 = TIM_TRGO2_RESET;
  sMasterConfig.MasterSlaveMode = TIM_MASTERSLAVEMODE_DISABLE;
  if (HAL_TIMEx_MasterConfigSynchronization(&htim8, &sMasterConfig) != HAL_OK)
  {
    Error_Handler();
  }

}

static void MX_TIM15_Init(void)
{

  TIM_ClockConfigTypeDef sClockSourceConfig = {0};
  TIM_MasterConfigTypeDef sMasterConfig = {0};

  htim15.Instance = TIM15;
  htim15.Init.Prescaler = 0;
  htim15.Init.CounterMode = TIM_COUNTERMODE_UP;
  htim15.Init.Period = 0;
  htim15.Init.ClockDivision = TIM_CLOCKDIVISION_DIV1;
  htim15.Init.RepetitionCounter = 0;
  htim15.Init.AutoReloadPreload = TIM_AUTORELOAD_PRELOAD_DISABLE;
  if (HAL_TIM_Base_Init(&htim15) != HAL_OK)
  {
    Error_Handler();
  }
  sClockSourceConfig.ClockSource = TIM_CLOCKSOURCE_INTERNAL;
  if (HAL_TIM_ConfigClockSource(&htim15, &sClockSourceConfig) != HAL_OK)
  {
    Error_Handler();
  }
  sMasterConfig.MasterOutputTrigger = TIM_TRGO_RESET;
  sMasterConfig.MasterSlaveMode = TIM_MASTERSLAVEMODE_DISABLE;
  if (HAL_TIMEx_MasterConfigSynchronization(&htim15, &sMasterConfig) != HAL_OK)
  {
    Error_Handler();
  }

}

static void MX_TIM16_Init(void)
{

  htim16.Instance = TIM16;
  htim16.Init.Prescaler = 1;
  htim16.Init.CounterMode = TIM_COUNTERMODE_UP;
  htim16.Init.Period = 18000;
  htim16.Init.ClockDivision = TIM_CLOCKDIVISION_DIV1;
  htim16.Init.RepetitionCounter = 0;
  htim16.Init.AutoReloadPreload = TIM_AUTORELOAD_PRELOAD_DISABLE;
  if (HAL_TIM_Base_Init(&htim16) != HAL_OK)
  {
    Error_Handler();
  }
  if (HAL_TIM_OnePulse_Init(&htim16, TIM_OPMODE_SINGLE) != HAL_OK)
  {
    Error_Handler();
  }

}

static void MX_TIM17_Init(void)
{

  htim17.Instance = TIM17;
  htim17.Init.Prescaler = 0;
  htim17.Init.CounterMode = TIM_COUNTERMODE_UP;
  htim17.Init.Period = 0;
  htim17.Init.ClockDivision = TIM_CLOCKDIVISION_DIV1;
  htim17.Init.RepetitionCounter = 0;
  htim17.Init.AutoReloadPreload = TIM_AUTORELOAD_PRELOAD_DISABLE;
  if (HAL_TIM_Base_Init(&htim17) != HAL_OK)
  {
    Error_Handler();
  }

}

static void MX_USART1_UART_Init(void)
{

  huart1.Instance = USART1;
  huart1.Init.BaudRate = 115200;
  huart1.Init.WordLength = UART_WORDLENGTH_8B;
  huart1.Init.StopBits = UART_STOPBITS_1;
  huart1.Init.Parity = UART_PARITY_NONE;
  huart1.Init.Mode = UART_MODE_TX_RX;
  huart1.Init.HwFlowCtl = UART_HWCONTROL_NONE;
  huart1.Init.OverSampling = UART_OVERSAMPLING_16;
  huart1.Init.OneBitSampling = UART_ONE_BIT_SAMPLE_DISABLE;
  huart1.AdvancedInit.AdvFeatureInit = UART_ADVFEATURE_RXOVERRUNDISABLE_INIT|UART_ADVFEATURE_DMADISABLEONERROR_INIT;
  huart1.AdvancedInit.OverrunDisable = UART_ADVFEATURE_OVERRUN_DISABLE;
  huart1.AdvancedInit.DMADisableonRxError = UART_ADVFEATURE_DMA_DISABLEONRXERROR;
  if (HAL_UART_Init(&huart1) != HAL_OK)
  {
    Error_Handler();
  }

}

static void MX_USART2_UART_Init(void)
{

  huart2.Instance = USART2;
  huart2.Init.BaudRate = 9600;
  huart2.Init.WordLength = UART_WORDLENGTH_8B;
  huart2.Init.StopBits = UART_STOPBITS_1;
  huart2.Init.Parity = UART_PARITY_NONE;
  huart2.Init.Mode = UART_MODE_TX_RX;
  huart2.Init.HwFlowCtl = UART_HWCONTROL_NONE;
  huart2.Init.OverSampling = UART_OVERSAMPLING_8;
  huart2.Init.OneBitSampling = UART_ONE_BIT_SAMPLE_DISABLE;
  huart2.AdvancedInit.AdvFeatureInit = UART_ADVFEATURE_RXOVERRUNDISABLE_INIT|UART_ADVFEATURE_DMADISABLEONERROR_INIT;
  huart2.AdvancedInit.OverrunDisable = UART_ADVFEATURE_OVERRUN_DISABLE;
  huart2.AdvancedInit.DMADisableonRxError = UART_ADVFEATURE_DMA_DISABLEONRXERROR;
  if (HAL_UART_Init(&huart2) != HAL_OK)
  {
    Error_Handler();
  }

}

static void MX_USART3_UART_Init(void)
{

  huart3.Instance = USART3;
  huart3.Init.BaudRate = 115200;
  huart3.Init.WordLength = UART_WORDLENGTH_9B;
  huart3.Init.StopBits = UART_STOPBITS_1;
  huart3.Init.Parity = UART_PARITY_EVEN;
  huart3.Init.Mode = UART_MODE_TX_RX;
  huart3.Init.HwFlowCtl = UART_HWCONTROL_NONE;
  huart3.Init.OverSampling = UART_OVERSAMPLING_16;
  huart3.Init.OneBitSampling = UART_ONE_BIT_SAMPLE_DISABLE;
  huart3.AdvancedInit.AdvFeatureInit = UART_ADVFEATURE_RXOVERRUNDISABLE_INIT|UART_ADVFEATURE_DMADISABLEONERROR_INIT;
  huart3.AdvancedInit.OverrunDisable = UART_ADVFEATURE_OVERRUN_DISABLE;
  huart3.AdvancedInit.DMADisableonRxError = UART_ADVFEATURE_DMA_DISABLEONRXERROR;
  if (HAL_UART_Init(&huart3) != HAL_OK)
  {
    Error_Handler();
  }

}

static void MX_WWDG_Init(void)
{

  hwwdg.Instance = WWDG;
  hwwdg.Init.Prescaler = WWDG_PRESCALER_8;
  hwwdg.Init.Window = 64;
  hwwdg.Init.Counter = 64;
  hwwdg.Init.EWIMode = WWDG_EWI_DISABLE;
  if (HAL_WWDG_Init(&hwwdg) != HAL_OK)
  {
    Error_Handler();
  }

}

static void MX_GPIO_Init(void)
{
  GPIO_InitTypeDef GPIO_InitStruct = {0};

  /* GPIO Ports Clock Enable */
  __HAL_RCC_GPIOC_CLK_ENABLE();
  __HAL_RCC_GPIOH_CLK_ENABLE();
  __HAL_RCC_GPIOA_CLK_ENABLE();
  __HAL_RCC_GPIOB_CLK_ENABLE();
  __HAL_RCC_GPIOD_CLK_ENABLE();

  /*Configure GPIO pin Output Level */
  HAL_GPIO_WritePin(GPIOC, LED5_Pin|GPIO_PIN_14|GPIO_PIN_15|GPIO_PIN_0
                          |GPIO_PIN_1|GSMADC_Pin|LED3_Pin|LED4_Pin, GPIO_PIN_RESET);

  /*Configure GPIO pin Output Level */
  HAL_GPIO_WritePin(GPIOA, GPIO_PIN_4|GPIO_PIN_5|LED1_Pin|GPIO_PIN_11
                          |GPIO_PIN_12|LED2_Pin, GPIO_PIN_RESET);

  /*Configure GPIO pin Output Level */
  HAL_GPIO_WritePin(GPIOB, GSM_PWK_Pin|GSM_SEL_Pin|GPIO_PIN_13|GPIO_PIN_14
                          |GPIO_PIN_15|TR_485_Pin|USB_Renum_Pin|Relay_Pin
                          |OD_OUT_Pin, GPIO_PIN_RESET);

  /*Configure GPIO pin Output Level */
  HAL_GPIO_WritePin(SPI_NSS_GPIO_Port, SPI_NSS_Pin, GPIO_PIN_SET);

  /*Configure GPIO pins : LED5_Pin PC14 PC15 PC0
                           PC1 LED3_Pin LED4_Pin */
  GPIO_InitStruct.Pin = LED5_Pin|GPIO_PIN_14|GPIO_PIN_15|GPIO_PIN_0
                          |GPIO_PIN_1|LED3_Pin|LED4_Pin;
  GPIO_InitStruct.Mode = GPIO_MODE_OUTPUT_PP;
  GPIO_InitStruct.Pull = GPIO_NOPULL;
  GPIO_InitStruct.Speed = GPIO_SPEED_FREQ_LOW;
  HAL_GPIO_Init(GPIOC, &GPIO_InitStruct);

  /*Configure GPIO pin : GSMADC_Pin */
  GPIO_InitStruct.Pin = GSMADC_Pin;
  GPIO_InitStruct.Mode = GPIO_MODE_OUTPUT_OD;
  GPIO_InitStruct.Pull = GPIO_NOPULL;
  GPIO_InitStruct.Speed = GPIO_SPEED_FREQ_LOW;
  HAL_GPIO_Init(GSMADC_GPIO_Port, &GPIO_InitStruct);

  /*Configure GPIO pins : PA4 PA5 LED1_Pin PA11
                           PA12 LED2_Pin */
  GPIO_InitStruct.Pin = GPIO_PIN_4|GPIO_PIN_5|LED1_Pin|GPIO_PIN_11
                          |GPIO_PIN_12|LED2_Pin;
  GPIO_InitStruct.Mode = GPIO_MODE_OUTPUT_PP;
  GPIO_InitStruct.Pull = GPIO_NOPULL;
  GPIO_InitStruct.Speed = GPIO_SPEED_FREQ_LOW;
  HAL_GPIO_Init(GPIOA, &GPIO_InitStruct);

  /*Configure GPIO pins : DIN1_Pin DIN2_Pin */
  GPIO_InitStruct.Pin = DIN1_Pin|DIN2_Pin;
  GPIO_InitStruct.Mode = GPIO_MODE_INPUT;
  GPIO_InitStruct.Pull = GPIO_NOPULL;
  HAL_GPIO_Init(GPIOA, &GPIO_InitStruct);

  /*Configure GPIO pin : DIN4_Pin */
  GPIO_InitStruct.Pin = DIN4_Pin;
  GPIO_InitStruct.Mode = GPIO_MODE_INPUT;
  GPIO_InitStruct.Pull = GPIO_NOPULL;
  HAL_GPIO_Init(DIN4_GPIO_Port, &GPIO_InitStruct);

  /*Configure GPIO pin : DIN5_Pin */
  GPIO_InitStruct.Pin = DIN5_Pin;
  GPIO_InitStruct.Mode = GPIO_MODE_INPUT;
  GPIO_InitStruct.Pull = GPIO_PULLUP;
  HAL_GPIO_Init(DIN5_GPIO_Port, &GPIO_InitStruct);

  /*Configure GPIO pins : DIN3_Pin ButtonCTRL_Pin ButtonCLBR_Pin */
  GPIO_InitStruct.Pin = DIN3_Pin|ButtonCTRL_Pin|ButtonCLBR_Pin;
  GPIO_InitStruct.Mode = GPIO_MODE_INPUT;
  GPIO_InitStruct.Pull = GPIO_NOPULL;
  HAL_GPIO_Init(GPIOB, &GPIO_InitStruct);

  /*Configure GPIO pins : GSM_PWK_Pin GSM_SEL_Pin SPI_NSS_Pin PB13
                           PB14 PB15 TR_485_Pin USB_Renum_Pin
                           Relay_Pin OD_OUT_Pin */
  GPIO_InitStruct.Pin = GSM_PWK_Pin|GSM_SEL_Pin|SPI_NSS_Pin|GPIO_PIN_13
                          |GPIO_PIN_14|GPIO_PIN_15|TR_485_Pin|USB_Renum_Pin
                          |Relay_Pin|OD_OUT_Pin;
  GPIO_InitStruct.Mode = GPIO_MODE_OUTPUT_PP;
  GPIO_InitStruct.Pull = GPIO_NOPULL;
  GPIO_InitStruct.Speed = GPIO_SPEED_FREQ_LOW;
  HAL_GPIO_Init(GPIOB, &GPIO_InitStruct);

  /*Configure GPIO pin : GSM_RI_Pin */
  GPIO_InitStruct.Pin = GSM_RI_Pin;
  GPIO_InitStruct.Mode = GPIO_MODE_IT_RISING;
  GPIO_InitStruct.Pull = GPIO_NOPULL;
  HAL_GPIO_Init(GSM_RI_GPIO_Port, &GPIO_InitStruct);

}

void Error_Handler(void)
{
}

/************************ (C) COPYRIGHT STMicroelectronics *****END OF FILE****/
